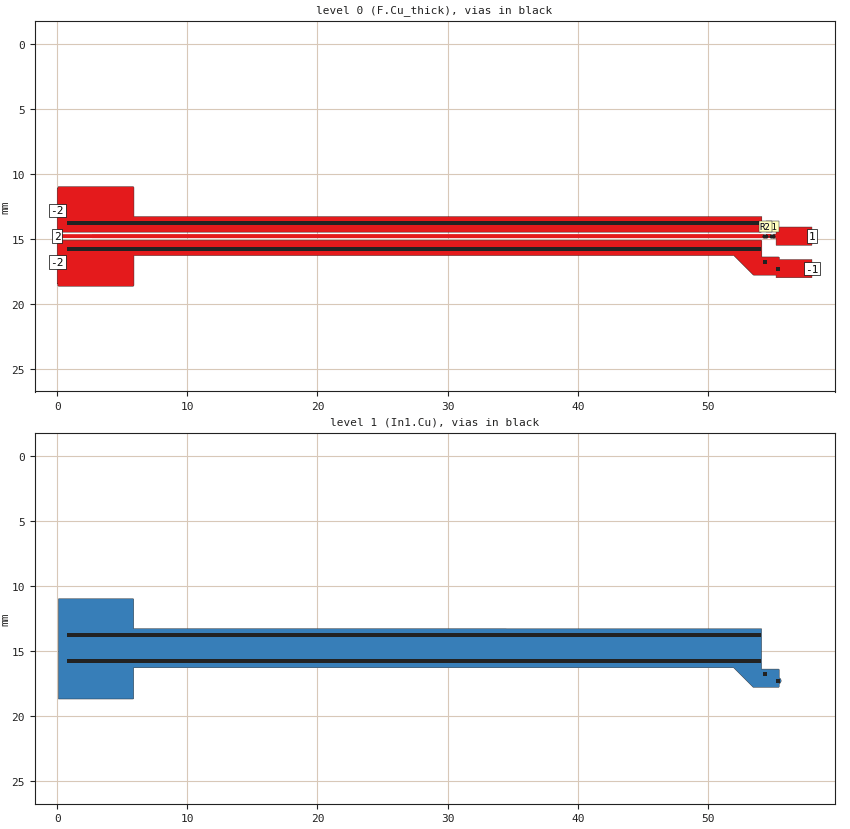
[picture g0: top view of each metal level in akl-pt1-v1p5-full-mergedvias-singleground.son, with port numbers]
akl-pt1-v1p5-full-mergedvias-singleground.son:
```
FTYP SONPROJ 19 ! Sonnet Project File
VER 18.54
HEADER
LIC antikernel2.1.51813
DAT 08/12/2022 01:11:17
BUILT_BY_CREATED dxf 18.54 08/11/2022 23:14:47
BUILT_BY_SAVED sonnet 18.54
MDATE 08/12/2022 01:11:17
HDATE 08/12/2022 01:11:17
ANN Created by dxfgeo, Sonnet Software Inc.
END HEADER
DIM
ANG DEG
CAP PF
CON /OH
FREQ GHZ
IND NH
LNG MM
RES OH
END DIM
CONTROL
VARSWP
OPTIONS  -dj
SPEED 1
CACHE_ABS 2
Q_ACC N
END CONTROL
GEO
DRP1 LEFT NONE 5
DRP1 RIGHT NONE 5
TMET "Free Space" 0 FREESPACE 376.7303136 0 0 0
BMET "Free Space" 0 FREESPACE 376.7303136 0 0 0
MET "Copper_1oz+plated_thick_up" 1 TMM 58000000 0.5 0.0432 2
MET "Copper_1oz+plated_thin" 4 NOR 58000000 0.5 0.0432 
MET "Copper_0.5oz_thin" 2 NOR 58000000 0.5 0.0175 
MET "Copper_1oz+plated_thick_down" 3 TMM 58000000 0.5 0.0432 2 CDVY TDWN
BOX 4 58 25 2320 1000 20 0
      10 1 1 0 0 0 0 "Air"
      0.2021 3.61 1 0.0092 0 0 0 "Isola_FR408HR"
      1.1938 3.61 1 0.0092 0 0 0 "Isola_FR408HR"
      0.2021 3.61 1 0.0092 0 0 0 "Isola_FR408HR"
      10 1 1 0 0 0 0 "Air"
TECHLAY METAL F.Cu_thick <UNSPECIFIED> -1 -65534 CAD F.Cu drawing 
0 0 0 N 346 1 1 100 100 0 0 0 Y
END
END
TECHLAY VIA Via1 <UNSPECIFIED> -7 -65534 CAD Via1 drawing 
VIA POLYGON
0 0 -1 N 353 1 1 100 100 0 0 0 Y
TOLEVEL 3 RING NOCOVERS
END
END
TECHLAY METAL F.Cu_thin <UNSPECIFIED> -2 -65534 CAD F.Cu_thin drawing 
0 0 1 N 355 1 1 100 100 0 0 0 Y
END
END
TECHLAY METAL In1.Cu <UNSPECIFIED> -3 -65534 CAD In1.Cu drawing 
1 0 2 N 362 1 1 100 100 0 0 0 Y
END
END
TECHLAY METAL In2.Cu <UNSPECIFIED> -4 -65534 CAD In2.Cu drawing 
2 0 2 N 365 1 1 100 100 0 0 0 Y
END
END
TECHLAY METAL B.Cu_thin <UNSPECIFIED> -6 -65534 CAD B.Cu_thin drawing 
3 0 1 N 368 1 1 100 100 0 0 0 Y
END
END
TECHLAY METAL B.Cu_thick <UNSPECIFIED> -5 -65534 CAD B.Cu drawing 
3 0 3 N 370 1 1 100 100 0 0 0 Y
END
END
LORGN 0 25 U 
POR1 BOX
POLY 225 1
10
2 50 0 0 0 0 14.8 
POR1 BOX
POLY 228 1
9
-1 50 0 0 0 58 17.3 
POR1 BOX
POLY 228 1
23
-2 50 0 0 0 0 16.78 
POR1 BOX
POLY 229 1
15
1 50 0 0 0 58 14.8 
POR1 BOX
POLY 377 1
14
-2 50 0 0 0 0 12.82 
SMD 0 "R1"
ID 240
GNDREF FLOAT
DRP1 LEFT NONE 2
DRP1 RIGHT NONE 2
SBOX 54.89875 54.99625 14.75125 14.84875
PBSHW N
LPOS 54.9475 14.75125
TYPE SPARAM 1
SMDP 0 55.045 14.8 R 3 1 
EXSMDP
GNDREF FLOAT
TERMW FEED
END EXSMDP
SMDP 0 54.85 14.8 L 4 2 
EXSMDP
GNDREF FLOAT
TERMW FEED
END EXSMDP
END
SMD 0 "R2"
ID 269
GNDREF FLOAT
DRP1 LEFT NONE 2
DRP1 RIGHT NONE 2
SBOX 54.35 54.45 14.75 14.85
PBSHW N
LPOS 54.4 14.75
TYPE SPARAM 2
SMDP 0 54.5 14.8 R 5 1 
EXSMDP
GNDREF FLOAT
TERMW FEED
END EXSMDP
SMDP 0 54.3 14.8 L 6 2 
EXSMDP
GNDREF FLOAT
TERMW FEED
END EXSMDP
END
NUM 10
0 13 0 N 3 1 1 100 100 0 0 0 Y
TLAYNAM F.Cu_thick INH
USER_DAT FromImport
54.5 14.955
54.5 14.645
54.65 14.645
54.65 14.65
54.7 14.65
54.7 14.645
54.85 14.645
54.85 14.955
54.7 14.955
54.7 14.95
54.65 14.95
54.65 14.955
54.5 14.955
END
0 23 0 N 225 1 1 100 100 0 0 0 Y
TLAYNAM F.Cu_thick INH
USER_DAT FromImport
54.3 14.645
54.15 14.645
54.15 14.653
54.138 14.649
54.123 14.646
54.108 14.645
2.692 14.645
2.677 14.646
2.662 14.649
2.659 14.65
0 14.65
0 14.95
2.659 14.95
2.662 14.951
2.677 14.954
2.692 14.955
54.108 14.955
54.123 14.954
54.138 14.951
54.15 14.947
54.15 14.955
54.3 14.955
54.3 14.645
END
0 32 0 N 228 1 1 100 100 0 0 0 Y
TLAYNAM F.Cu_thick INH
USER_DAT FromImport
5.839 18.649
5.883 18.624
5.9 18.576
5.9 16.3
52 16.3
53.483 17.783
53.531 17.8
55.245 17.8
55.245 18
58 18
58 16.6
55.5 16.6
55.5 16.474
55.499 16.461
55.474 16.417
55.426 16.4
54.15 16.4
54.15 15.18
54.149 15.167
54.124 15.123
54.076 15.106
5.5 15.106
5.5 15.105
0 15.105
0 18.455
0.05 18.455
0.05 18.576
0.051 18.589
0.076 18.633
0.124 18.65
5.826 18.65
5.839 18.649
END
0 17 0 N 229 1 1 100 100 0 0 0 Y
TLAYNAM F.Cu_thick INH
USER_DAT FromImport
58 14.1
55.245 14.1
55.245 14.645
55.05 14.645
55.05 14.759
55.049 14.762
55.046 14.777
55.045 14.792
55.045 14.808
55.046 14.823
55.049 14.838
55.05 14.841
55.05 14.955
55.245 14.955
55.245 15.5
58 15.5
58 14.1
END
0 18 0 N 377 1 1 100 100 0 0 0 Y
TLAYNAM F.Cu_thick INH
USER_DAT FromImport
54.089 14.493
54.133 14.468
54.15 14.421
54.15 13.3
5.9 13.3
5.9 11.074
5.899 11.061
5.874 11.017
5.826 11
0.124 11
0.111 11.001
0.067 11.026
0.05 11.074
0.05 11.145
0 11.145
0 14.495
54.076 14.495
54.089 14.493
END
VIA POLYGON
0 5 -1 N 7 1 1 100 100 0 0 0 Y
TOLEVEL 3 RING NOCOVERS
TLAYNAM Via1 INH
USER_DAT FromImport
55.25 17.45
55.25 17.15
55.55 17.15
55.55 17.45
55.25 17.45
END
VIA POLYGON
0 5 -1 N 8 1 1 100 100 0 0 0 Y
TOLEVEL 3 RING NOCOVERS
TLAYNAM Via1 INH
USER_DAT FromImport
54.25 16.95
54.25 16.65
54.55 16.65
54.55 16.95
54.25 16.95
END
VIA POLYGON
0 5 -1 N 93 1 1 100 100 0 0 0 Y
TOLEVEL 3 RING NOCOVERS
TLAYNAM Via1 INH
USER_DAT FromImport
0.75 15.95
0.75 15.65
54.05 15.65
54.05 15.95
0.75 15.95
END
VIA POLYGON
0 5 -1 N 119 1 1 100 100 0 0 0 Y
TOLEVEL 3 RING NOCOVERS
TLAYNAM Via1 INH
USER_DAT FromImport
0.75 13.95
0.75 13.65
54.05 13.65
54.05 13.95
0.75 13.95
END
1 50 2 N 378 1 1 100 100 0 0 0 Y
TLAYNAM In1.Cu INH
USER_DAT FromImport
5.868925 18.67935
5.882925 18.64435
5.882925 16.29335
51.982925 16.29335
53.468925 17.77935
53.502925 17.79335
55.433925 17.79335
55.468925 17.77935
55.482925 17.74435
55.482925 17.52235
55.489925 17.51935
55.511925 17.50735
55.531925 17.49435
55.550925 17.47835
55.567925 17.46135
55.583925 17.44235
55.596925 17.42235
55.608925 17.40035
55.617925 17.37735
55.625925 17.35435
55.629925 17.33035
55.632925 17.30535
55.632925 17.28135
55.629925 17.25635
55.625925 17.23235
55.617925 17.20935
55.608925 17.18635
55.596925 17.16435
55.583925 17.14435
55.567925 17.12535
55.550925 17.10835
55.531925 17.09235
55.511925 17.07935
55.489925 17.06735
55.482925 17.06435
55.482925 16.44235
55.468925 16.40735
55.433925 16.39335
54.132925 16.39335
54.132925 13.3
34.5 13.3
34.5 13.29335
5.882925 13.29335
5.882925 11.04235
5.868925 11.00735
5.833925 10.99335
0.1 10.99335
0.1 18.69335
5.833925 18.69335
5.868925 18.67935
END
END GEO
OPT
MAX 100
END OPT
VARSWP
ENABLED Y
FREQ Y AY ABS_ENTRY 0.1 8.5 -1 300 
END
END VARSWP
SMDFILES
2 "../../../../../../ceph/bulk/datasheets/Vishay/Resistors/CH/CH02016F_P/CH02016F_P_200R.s2p"
1 "../../../../../../ceph/bulk/datasheets/Vishay/Resistors/CH/CH02016F_P/CH02016F_P_250R.s2p"
END SMDFILES
```
